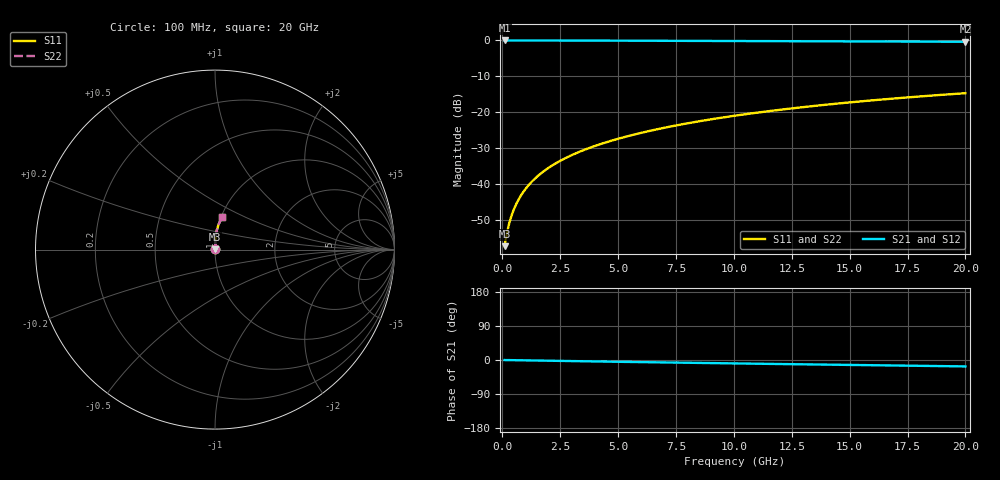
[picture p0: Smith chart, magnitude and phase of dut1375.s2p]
! Touchstone file exported from HFSS 2024.1.0
!  File:  C:/UserFiles/LocalFiles/RDL_TSV_Batchsim/temp_RDL_top_1375_1780367161.aedt
!  Generated:  10:27:52 AM Jun  2, 2026
!  Design:  RDL_top
!  Project:  temp_RDL_top_1375_1780367161
!  Setup:  Setup1
!  Solution:  Sweep
! Variables:
!  dtsv = 10.80580581um
!  hbump = 3um
!  htsv = 98.91um
!  ldown = 100um
!  lrdl = 213.96um
!  p = 40
!  p1 = 47.72um
!  rhole = 1um
!  t = 450um
!  tdown = 3.915915916um
!  trdl = 4.48um
!  wdown = 15.38538539um
!  wrdl = 20.22um
# GHz S MA R 50.000000
! Terminal data exported
! Port[1] = Box2_T1
! Port[2] = Box2_T2
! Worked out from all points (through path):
!   200 points, 100 MHz to 20 GHz, reference 50 ohm
!   highest |S21| = -0.01 dB at 100 MHz (marker M1); lowest = -0.4 dB at 20 GHz (marker M2)
!   group delay of S21, straight-line fit = 2.33 ps
!   lowest |S11| = -57.4 dB at 100 MHz (marker M3), VSWR 1.00, Z = 50.1 + j0.0898 ohm
!   |S11| at or under -10 dB: start of sweep to end of sweep
!   |S22| runs from -57.4 to -14.7 dB; largest |S21 - S12| = 4.2e-15
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0.1  0.001342 41.9  0.999 -0.1  0.999 -0.1  0.001342 41.9
! Gamma 0 0 0 0
! Port Impedance 50 0 50 0
0.2  0.002046 59.2  0.9989 -0.2  0.9989 -0.2  0.002046 59.2
0.3  0.00281 67.1  0.9989 -0.3  0.9989 -0.3  0.00281 67.1
0.4  0.003589 71.8  0.9988 -0.4  0.9988 -0.4  0.003589 71.8
0.5  0.004379 74.9  0.9988 -0.5  0.9988 -0.5  0.004379 74.9
0.6  0.005176 77.1  0.9987 -0.6  0.9987 -0.6  0.005176 77.1
0.8  0.006788 80.1  0.9986 -0.8  0.9986 -0.8  0.006788 80.1
1.1  0.009233 82.7  0.9984 -1.1  0.9984 -1.1  0.009233 82.7
1.5  0.01252 84.6  0.9981 -1.5  0.9981 -1.5  0.01252 84.6
1.8  0.01501 85.5  0.9978 -1.7  0.9978 -1.7  0.01501 85.5
2.1  0.01751 86.1  0.9975 -2.0  0.9975 -2.0  0.01751 86.1
2.7  0.02253 86.9  0.9967 -2.6  0.9967 -2.6  0.02253 86.9
3.5  0.02932 87.6  0.9955 -3.3  0.9955 -3.3  0.02932 87.6
4.2  0.03535 87.9  0.9942 -4.0  0.9942 -4.0  0.03535 87.9
5  0.04235 88.0  0.9926 -4.7  0.9926 -4.7  0.04235 88.0
5.9  0.05038 88.0  0.9907 -5.5  0.9907 -5.5  0.05038 88.0
6.8  0.05855 87.8  0.9887 -6.3  0.9887 -6.3  0.05855 87.8
8.4  0.0734 87.1  0.985 -7.7  0.985 -7.7  0.0734 87.1
10.1  0.0895 86.1  0.981 -9.1  0.981 -9.1  0.0895 86.1
13.4  0.1211 83.6  0.9733 -11.8  0.9733 -11.8  0.1211 83.6
16.7  0.1526 80.7  0.9656 -14.4  0.9656 -14.4  0.1526 80.7
20  0.1835 77.8  0.9577 -16.9  0.9577 -16.9  0.1835 77.8
